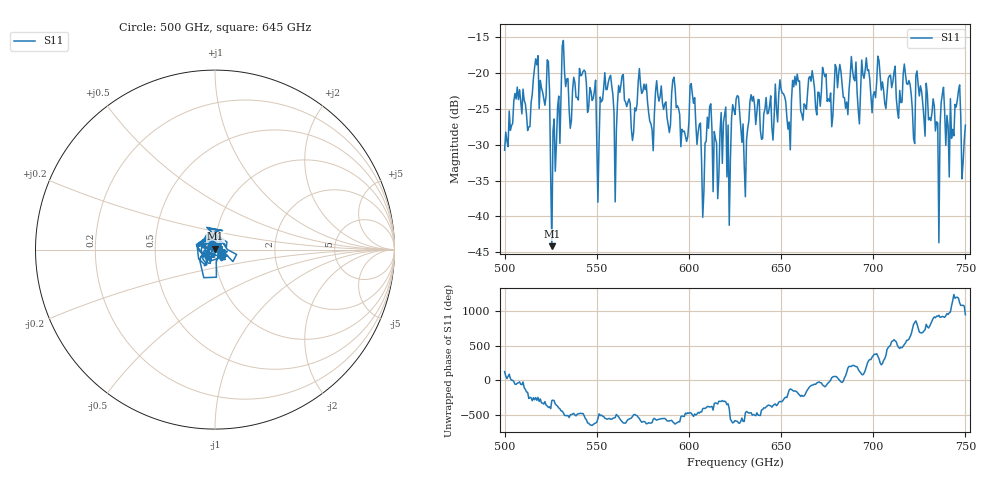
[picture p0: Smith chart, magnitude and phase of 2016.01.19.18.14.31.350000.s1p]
!Created with skrf (http://scikit-rf.org).
# GHz S RI R 50.0
!freq ReS11 ImS11
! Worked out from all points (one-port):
!   401 points, 500 GHz to 750 GHz, reference 50 ohm
!   lowest |S11| = -44.2 dB at 525.6 GHz (marker M1), VSWR 1.01, Z = 50.2 + j0.57 ohm
!   |S11| at or under -10 dB: start of sweep to end of sweep
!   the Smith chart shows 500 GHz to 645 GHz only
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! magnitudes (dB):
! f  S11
! 500 GHz  -30.8
! 506.9 GHz  -22.0
! 513.1 GHz  -27.5
! 516.9 GHz  -18.0
! 523.1 GHz  -18.2
! 525.6 GHz  -44.2
! 531.2 GHz  -16.2
! 543.1 GHz  -19.6
! 551.2 GHz  -29.6
! 553.1 GHz  -23.8
! 557.5 GHz  -20.3
! 560 GHz  -38.0
! 562.5 GHz  -22.7
! 593.8 GHz  -24.6
! 598.1 GHz  -28.8
! 601.9 GHz  -23.0
! 608.1 GHz  -36.6
! 611.2 GHz  -24.7
! 621.9 GHz  -41.2
! 625 GHz  -25.8
! 630 GHz  -32.9
! 634.4 GHz  -23.9
! 656.2 GHz  -21.0
! 687.5 GHz  -20.5
! 718.8 GHz  -21.6
! 735 GHz  -27.0
! 737.5 GHz  -22.9
! 750 GHz  -27.3
